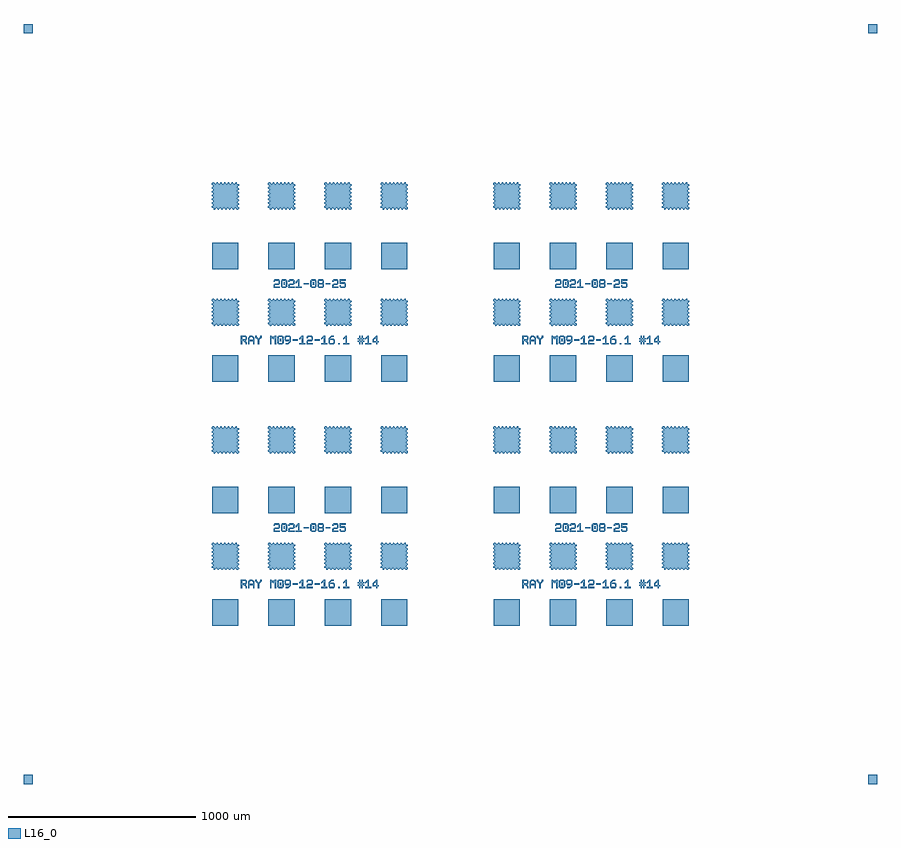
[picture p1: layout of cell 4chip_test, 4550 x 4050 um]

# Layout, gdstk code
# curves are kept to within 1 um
import gdstk
lib = gdstk.Library(unit=1e-6, precision=1e-09)
def R(c, l, rs):  # rectangles x0, y0, x1, y1
    for r in rs: c.add(gdstk.rectangle(r[:2], r[2:], *l))
def P(c, l, *ps):  # polygons
    for p in ps: c.add(gdstk.Polygon(p, *l))
L16_0 = (16, 0)

c_50umsquare = lib.new_cell('50umSquare')
R(c_50umsquare, L16_0, [(-25,-25,25,25)])

sqiggle_cell_1_1 = lib.new_cell('sqiggle_cell$1$1')
P(sqiggle_cell_1_1, L16_0, [(-58.667,-73),(-62,-70.548),(-62,-62.198),(-70.746,-62.198),(-73.198,-58.865),(-71.694,-55.531),(-63.001,-47.198),(-73.001,-37.198),(-63.001,-27.198),(-73.001,-17.198),(-63.001,-7.198),(-73.001,2.802),(-63.001,12.803),(-73.001,22.803),(-63.001,32.803),(-73.001,42.803),(-63.001,52.803),(-73.001,62.803),(-70.166,69.968),(-63.001,72.803),(-53.001,62.803),(-43.001,72.803),(-33.001,62.803),(-23.001,72.803),(-13.001,62.803),(-3,72.803),(7,62.803),(17,72.803),(27,62.803),(37,72.803),(47,62.803),(57,72.803),(60.333,72.181),(62,70.548),(62,62.198),(70.746,62.198),(73.198,58.865),(71.694,55.531),(63.001,47.198),(73.001,37.198),(63.001,27.198),(73.001,17.198),(63.001,7.198),(73.001,-2.802),(63.001,-12.803),(73.001,-22.803),(63.001,-32.803),(73.001,-42.803),(63.001,-52.803),(73.001,-62.803),(70.166,-69.968),(63.001,-72.803),(53.001,-62.803),(43.001,-72.803),(33.001,-62.803),(23.001,-72.803),(13.001,-62.803),(3,-72.803),(-7,-62.803),(-17,-72.803),(-27,-62.803),(-37,-72.803),(-47,-62.803),(-55.333,-71.496)])

rect_cell_1_1 = lib.new_cell('rect_cell$1$1')
R(rect_cell_1_1, L16_0, [(-70,-70,70,70)])

text_4 = lib.new_cell('TEXT$4')
R(text_4, L16_0, [(8,0,8.1,0.1), (3.2,0.25,3.3,0.45), (4.25,0.3,4.65,0.4), (6.05,0.3,6.45,0.4)])
P(text_4, L16_0, [(0,0),(0,0.7),(0.4,0.7),(0.5,0.6),(0.1,0.6),(0.1,0.4),(0.35,0.4),(0.4,0.45),(0.4,0.55),(0.35,0.6),(0.5,0.6),(0.5,0.4),(0.4,0.3),(0.4,0.25),(0.5,0.15),(0.5,0),(0.4,0),(0.4,0.1),(0.2,0.3),(0.1,0.3),(0.1,0)],
  [(0.6,0),(0.6,0.55),(0.75,0.7),(0.95,0.7),(1.05,0.6),(0.8,0.6),(0.7,0.5),(0.7,0.35),(1,0.35),(1,0.5),(0.9,0.6),(1.05,0.6),(1.1,0.55),(1.1,0),(1,0),(1,0.25),(0.7,0.25),(0.7,0)],
  [(1.4,0),(1.4,0.35),(1.2,0.55),(1.2,0.7),(1.3,0.7),(1.3,0.6),(1.45,0.45),(1.6,0.6),(1.6,0.7),(1.7,0.7),(1.7,0.55),(1.5,0.35),(1.5,0)],
  [(2.4,0),(2.4,0.7),(2.5,0.7),(2.6,0.6),(2.7,0.6),(2.8,0.7),(2.9,0.7),(2.9,0),(2.8,0),(2.8,0.5),(2.75,0.5),(2.65,0.4),(2.55,0.5),(2.5,0.5),(2.5,0)],
  [(3.1,0),(3,0.1),(3,0.6),(3.1,0.7),(3.4,0.7),(3.5,0.6),(3.15,0.6),(3.1,0.55),(3.1,0.15),(3.15,0.1),(3.35,0.1),(3.4,0.15),(3.4,0.55),(3.35,0.6),(3.5,0.6),(3.5,0.1),(3.4,0)],
  [(3.7,0),(3.7,0.1),(3.85,0.1),(3.95,0.2),(3.95,0.25),(3.7,0.25),(3.6,0.35),(3.95,0.35),(4,0.4),(4,0.55),(3.95,0.6),(3.75,0.6),(3.7,0.55),(3.7,0.4),(3.75,0.35),(3.6,0.35),(3.6,0.6),(3.7,0.7),(4,0.7),(4.1,0.6),(4.1,0.2),(3.9,0)],
  [(4.8,0),(4.8,0.1),(5,0.1),(5,0.5),(4.95,0.5),(4.85,0.4),(4.8,0.4),(4.8,0.5),(5,0.7),(5.1,0.7),(5.1,0.1),(5.3,0.1),(5.3,0)],
  [(5.4,0),(5.4,0.25),(5.5,0.35),(5.75,0.35),(5.8,0.4),(5.8,0.55),(5.75,0.6),(5.55,0.6),(5.5,0.55),(5.5,0.5),(5.4,0.5),(5.4,0.6),(5.5,0.7),(5.8,0.7),(5.9,0.6),(5.9,0.35),(5.8,0.25),(5.55,0.25),(5.5,0.2),(5.5,0.1),(5.9,0.1),(5.9,0)],
  [(6.6,0),(6.6,0.1),(6.8,0.1),(6.8,0.5),(6.75,0.5),(6.65,0.4),(6.6,0.4),(6.6,0.5),(6.8,0.7),(6.9,0.7),(6.9,0.1),(7.1,0.1),(7.1,0)],
  [(7.3,0),(7.2,0.1),(7.2,0.5),(7.4,0.7),(7.6,0.7),(7.6,0.6),(7.45,0.6),(7.35,0.5),(7.35,0.45),(7.6,0.45),(7.7,0.35),(7.35,0.35),(7.3,0.3),(7.3,0.15),(7.35,0.1),(7.55,0.1),(7.6,0.15),(7.6,0.3),(7.55,0.35),(7.7,0.35),(7.7,0.1),(7.6,0)],
  [(8.4,0),(8.4,0.1),(8.6,0.1),(8.6,0.5),(8.55,0.5),(8.45,0.4),(8.4,0.4),(8.4,0.5),(8.6,0.7),(8.7,0.7),(8.7,0.1),(8.9,0.1),(8.9,0)],
  [(9.7,0),(9.7,0.2),(9.6,0.2),(9.6,0.3),(9.7,0.3),(9.7,0.4),(9.6,0.4),(9.6,0.5),(9.7,0.5),(9.7,0.7),(9.8,0.7),(9.8,0.5),(9.9,0.5),(9.9,0.7),(10,0.7),(10,0.5),(10.1,0.5),(10.1,0.4),(10,0.4),(10,0.3),(10.1,0.3),(10.1,0.2),(10,0.2),(10,0),(9.9,0),(9.9,0.4),(9.8,0.4),(9.8,0.3),(9.9,0.3),(9.9,0.2),(9.8,0.2),(9.8,0)],
  [(10.2,0),(10.2,0.1),(10.4,0.1),(10.4,0.5),(10.35,0.5),(10.25,0.4),(10.2,0.4),(10.2,0.5),(10.4,0.7),(10.5,0.7),(10.5,0.1),(10.7,0.1),(10.7,0)],
  [(11.1,0),(11.1,0.15),(10.8,0.15),(10.8,0.25),(11.1,0.25),(11.1,0.5),(11.05,0.5),(10.9,0.35),(10.9,0.25),(10.8,0.25),(10.8,0.4),(11.1,0.7),(11.2,0.7),(11.2,0.25),(11.3,0.25),(11.3,0.15),(11.2,0.15),(11.2,0)])

text_3 = lib.new_cell('TEXT$3')
R(text_3, L16_0, [(0.8,0.25,0.9,0.45), (3.2,0.25,3.3,0.45), (2.45,0.3,2.85,0.4), (4.25,0.3,4.65,0.4)])
P(text_3, L16_0, [(0,0),(0,0.25),(0.1,0.35),(0.35,0.35),(0.4,0.4),(0.4,0.55),(0.35,0.6),(0.15,0.6),(0.1,0.55),(0.1,0.5),(0,0.5),(0,0.6),(0.1,0.7),(0.4,0.7),(0.5,0.6),(0.5,0.35),(0.4,0.25),(0.15,0.25),(0.1,0.2),(0.1,0.1),(0.5,0.1),(0.5,0)],
  [(0.7,0),(0.6,0.1),(0.6,0.6),(0.7,0.7),(1,0.7),(1.1,0.6),(0.75,0.6),(0.7,0.55),(0.7,0.15),(0.75,0.1),(0.95,0.1),(1,0.15),(1,0.55),(0.95,0.6),(1.1,0.6),(1.1,0.1),(1,0)],
  [(1.2,0),(1.2,0.25),(1.3,0.35),(1.55,0.35),(1.6,0.4),(1.6,0.55),(1.55,0.6),(1.35,0.6),(1.3,0.55),(1.3,0.5),(1.2,0.5),(1.2,0.6),(1.3,0.7),(1.6,0.7),(1.7,0.6),(1.7,0.35),(1.6,0.25),(1.35,0.25),(1.3,0.2),(1.3,0.1),(1.7,0.1),(1.7,0)],
  [(1.8,0),(1.8,0.1),(2,0.1),(2,0.5),(1.95,0.5),(1.85,0.4),(1.8,0.4),(1.8,0.5),(2,0.7),(2.1,0.7),(2.1,0.1),(2.3,0.1),(2.3,0)],
  [(3.1,0),(3,0.1),(3,0.6),(3.1,0.7),(3.4,0.7),(3.5,0.6),(3.15,0.6),(3.1,0.55),(3.1,0.15),(3.15,0.1),(3.35,0.1),(3.4,0.15),(3.4,0.55),(3.35,0.6),(3.5,0.6),(3.5,0.1),(3.4,0)],
  [(3.7,0),(3.6,0.1),(3.6,0.3),(3.65,0.35),(3.6,0.4),(3.6,0.6),(3.7,0.7),(4,0.7),(4.1,0.6),(3.75,0.6),(3.7,0.55),(3.7,0.45),(3.75,0.4),(3.95,0.4),(4,0.45),(4,0.55),(3.95,0.6),(4.1,0.6),(4.1,0.4),(4.05,0.35),(4.1,0.3),(3.75,0.3),(3.7,0.25),(3.7,0.15),(3.75,0.1),(3.95,0.1),(4,0.15),(4,0.25),(3.95,0.3),(4.1,0.3),(4.1,0.1),(4,0)],
  [(4.8,0),(4.8,0.25),(4.9,0.35),(5.15,0.35),(5.2,0.4),(5.2,0.55),(5.15,0.6),(4.95,0.6),(4.9,0.55),(4.9,0.5),(4.8,0.5),(4.8,0.6),(4.9,0.7),(5.2,0.7),(5.3,0.6),(5.3,0.35),(5.2,0.25),(4.95,0.25),(4.9,0.2),(4.9,0.1),(5.3,0.1),(5.3,0)],
  [(5.5,0),(5.4,0.1),(5.4,0.2),(5.5,0.2),(5.5,0.15),(5.55,0.1),(5.75,0.1),(5.8,0.15),(5.8,0.3),(5.75,0.35),(5.4,0.35),(5.4,0.7),(5.9,0.7),(5.9,0.6),(5.5,0.6),(5.5,0.45),(5.8,0.45),(5.9,0.35),(5.9,0.1),(5.8,0)])

subchip4x4 = lib.new_cell('subchip4x4')
r = gdstk.Reference(sqiggle_cell_1_1, (-750,-300)); r.repetition = gdstk.Repetition(4, 2, v1=(300,0), v2=(0,620)); subchip4x4.add(r)
r = gdstk.Reference(rect_cell_1_1, (-750,-600)); r.repetition = gdstk.Repetition(4, 2, v1=(300,0), v2=(0,600)); subchip4x4.add(r)
subchip4x4.add(gdstk.Reference(text_4, (-667.25,-470), magnification=65))
subchip4x4.add(gdstk.Reference(text_3, (-491.75,-170), magnification=65))

c_4chip_test = lib.new_cell('4chip_test')
r = gdstk.Reference(c_50umsquare, (-2250,-2000)); r.repetition = gdstk.Repetition(2, 2, v1=(4500,0), v2=(0,4000)); c_4chip_test.add(r)
r = gdstk.Reference(subchip4x4, (-450,-511.5)); r.repetition = gdstk.Repetition(2, 2, v1=(1500,0), v2=(0,1300)); c_4chip_test.add(r)

lib.write_gds('4chip_test.gds')
